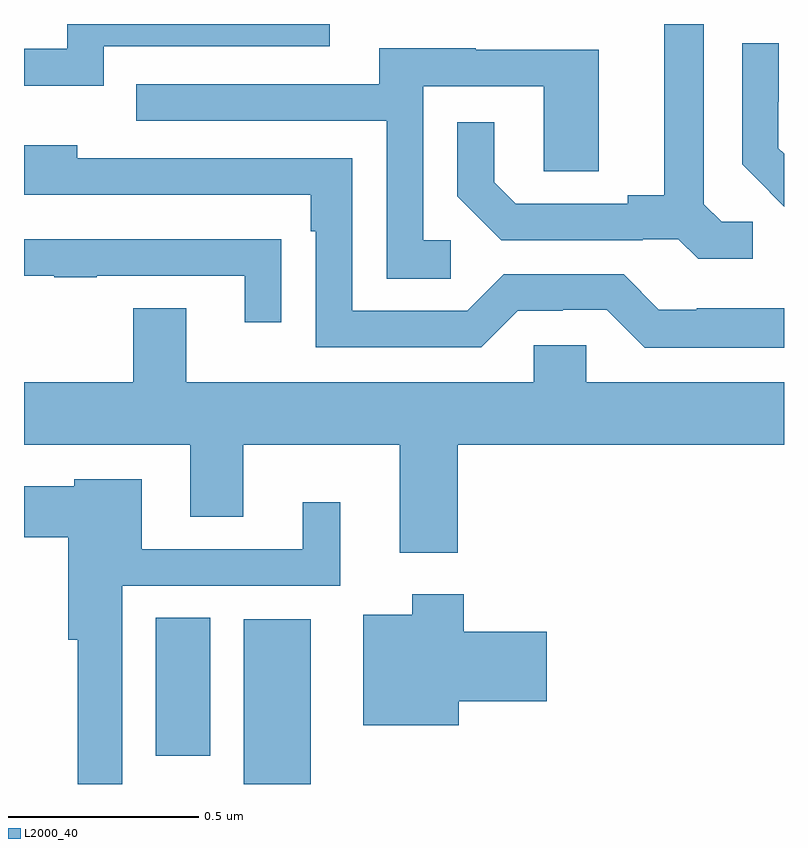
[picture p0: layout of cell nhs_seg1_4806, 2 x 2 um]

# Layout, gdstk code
import gdstk
lib = gdstk.Library(unit=1e-6, precision=1e-09)
def R(c, l, rs):  # rectangles x0, y0, x1, y1
    for r in rs: c.add(gdstk.rectangle(r[:2], r[2:], *l))
def P(c, l, *ps):  # polygons
    for p in ps: c.add(gdstk.Polygon(p, *l))
L2000_40 = (2000, 40)

nhs_seg1_4806 = lib.new_cell('nhs_seg1_4806')
R(nhs_seg1_4806, L2000_40, [(171.578,524.199,171.754,524.632), (171.347,524.274,171.49,524.636)])
P(nhs_seg1_4806, L2000_40, [(171.21,526.14),(171.805,526.14),(171.805,526.199),(171.114,526.199),(171.114,526.134),(171,526.134),(171,526.037),(171.21,526.037)],
  [(172.918,525.678),(172.836,525.678),(172.789,525.725),(172.789,526.199),(172.685,526.199),(172.685,525.749),(172.589,525.749),(172.589,525.726),(172.294,525.726),(172.237,525.783),(172.237,525.94),(172.14,525.94),(172.14,525.746),(172.256,525.63),(172.628,525.63),(172.628,525.633),(172.722,525.633),(172.774,525.581),(172.918,525.581)],
  [(173,525.857),(172.985,525.872),(172.985,525.994),(172.986,525.994),(172.986,526.148),(172.89,526.148),(172.89,525.83),(172.963,525.757),(172.962,525.756),(173,525.718)],
  [(172.123,525.63),(172.05,525.63),(172.05,526.035),(172.368,526.035),(172.368,525.811),(172.513,525.811),(172.513,526.131),(172.189,526.131),(172.189,526.135),(171.935,526.135),(171.935,526.041),(171.295,526.041),(171.295,525.945),(171.954,525.945),(171.954,525.529),(172.123,525.529)],
  [(173,525.451),(172.771,525.451),(172.771,525.447),(172.671,525.447),(172.578,525.54),(172.263,525.54),(172.167,525.444),(171.864,525.444),(171.864,525.846),(171.14,525.846),(171.14,525.88),(171,525.88),(171,525.75),(171.755,525.75),(171.755,525.653),(171.768,525.653),(171.768,525.348),(172.203,525.348),(172.299,525.444),(172.418,525.444),(172.418,525.447),(172.533,525.447),(172.633,525.347),(173,525.347)],
  [(171.677,525.632),(171.575,525.632),(171.575,525.633),(171,525.633),(171,525.537),(171.079,525.537),(171.079,525.532),(171.191,525.532),(171.191,525.537),(171.581,525.537),(171.581,525.414),(171.677,525.414)],
  [(172.341,525.354),(172.341,525.256),(171.427,525.256),(171.427,525.451),(171.287,525.451),(171.287,525.256),(171,525.256),(171,525.092),(171.437,525.092),(171.437,524.902),(171.577,524.902),(171.577,525.092),(171.989,525.092),(171.989,524.808),(172.142,524.808),(172.142,525.092),(173,525.092),(173,525.256),(172.479,525.256),(172.479,525.354)],
  [(171.258,524.721),(171.832,524.721),(171.832,524.941),(171.734,524.941),(171.734,524.817),(171.31,524.817),(171.31,525.001),(171.132,525.001),(171.132,524.983),(171,524.983),(171,524.849),(171.116,524.849),(171.116,524.579),(171.142,524.579),(171.142,524.199),(171.258,524.199)],
  [(172.144,524.417),(172.375,524.417),(172.375,524.6),(172.157,524.6),(172.157,524.698),(172.022,524.698),(172.022,524.644),(171.893,524.644),(171.893,524.354),(172.144,524.354)])

lib.write_gds('nhs_seg1_4806.gds')
